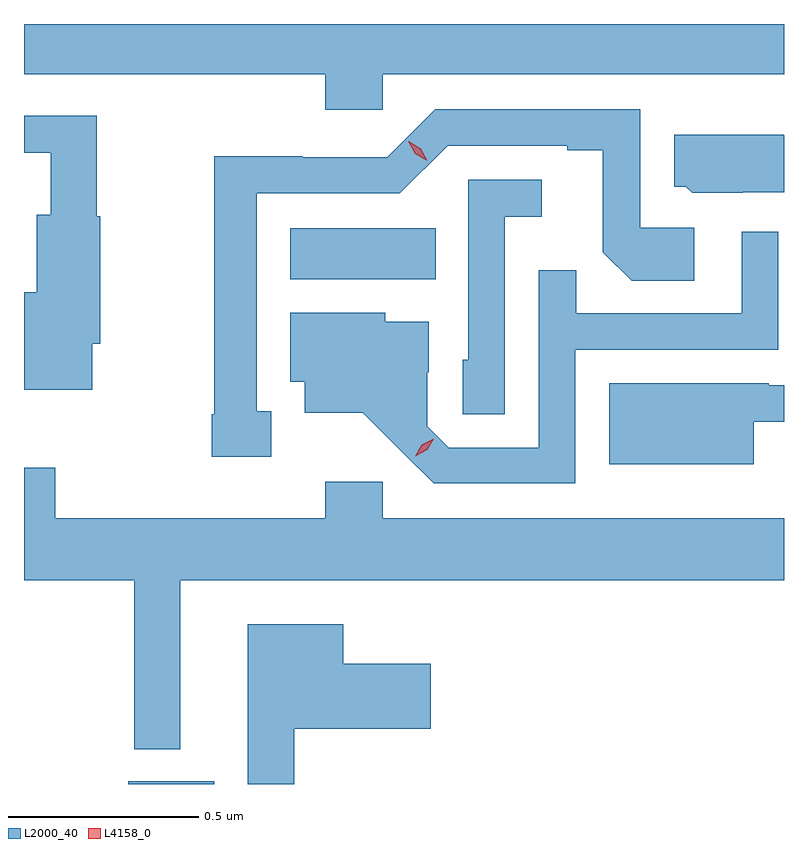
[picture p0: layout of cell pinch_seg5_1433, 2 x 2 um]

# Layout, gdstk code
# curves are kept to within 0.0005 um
import gdstk
lib = gdstk.Library(unit=1e-6, precision=1e-09)
def R(c, l, rs):  # rectangles x0, y0, x1, y1
    for r in rs: c.add(gdstk.rectangle(r[:2], r[2:], *l))
def P(c, l, *ps):  # polygons
    for p in ps: c.add(gdstk.Polygon(p, *l))
L2000_40 = (2000, 40)
L4158_0 = (4158, 0)

pinch_seg5_1433 = lib.new_cell('pinch_seg5_1433')
R(pinch_seg5_1433, L2000_40, [(167.36,897.516,167.587,897.523), (167.786,898.844,168.17,898.978)])
P(pinch_seg5_1433, L2000_40, [(168.03,899.384),(169.086,899.384),(169.086,899.516),(167.086,899.516),(167.086,899.384),(167.879,899.384),(167.879,899.291),(168.03,899.291)],
  [(167.737,898.497),(167.698,898.497),(167.698,899.07),(168.075,899.07),(168.201,899.196),(168.515,899.196),(168.515,899.184),(168.609,899.184),(168.609,898.916),(168.685,898.84),(168.85,898.84),(168.85,898.98),(168.708,898.98),(168.708,899.292),(168.168,899.292),(168.042,899.166),(167.82,899.166),(167.82,899.168),(167.587,899.168),(167.587,898.489),(167.58,898.489),(167.58,898.377),(167.737,898.377)],
  [(167.266,898.674),(167.286,898.674),(167.286,899.01),(167.278,899.01),(167.278,899.274),(167.086,899.274),(167.086,899.177),(167.157,899.177),(167.157,899.014),(167.12,899.014),(167.12,898.81),(167.086,898.81),(167.086,898.553),(167.266,898.553)],
  [(168.978,899.073),(169.086,899.073),(169.086,899.223),(169.085,899.224),(168.797,899.224),(168.797,899.088),(168.828,899.088),(168.844,899.072),(168.978,899.072)],
  [(168.351,899.009),(168.448,899.009),(168.448,899.106),(168.255,899.106),(168.255,898.632),(168.24,898.632),(168.24,898.489),(168.351,898.489)],
  [(168.537,898.659),(169.071,898.659),(169.071,898.969),(168.975,898.969),(168.975,898.755),(168.539,898.755),(168.539,898.868),(168.441,898.868),(168.441,898.401),(168.204,898.401),(168.147,898.458),(168.147,898.6),(168.151,898.6),(168.151,898.732),(168.036,898.732),(168.036,898.756),(167.786,898.756),(167.786,898.574),(167.825,898.574),(167.825,898.493),(167.977,898.493),(168.164,898.308),(168.537,898.308)],
  [(169.006,898.469),(169.086,898.469),(169.086,898.566),(169.046,898.566),(169.046,898.57),(168.626,898.57),(168.626,898.358),(169.006,898.358)],
  [(167.497,898.052),(169.086,898.052),(169.086,898.216),(168.03,898.216),(168.03,898.312),(167.879,898.312),(167.879,898.216),(167.168,898.216),(167.168,898.348),(167.086,898.348),(167.086,898.052),(167.376,898.052),(167.376,897.608),(167.497,897.608)],
  [(167.797,897.662),(168.157,897.662),(168.157,897.832),(167.926,897.832),(167.926,897.937),(167.675,897.937),(167.675,897.516),(167.797,897.516)])
P(pinch_seg5_1433, L4158_0, [(168.116,898.379),(168.116,898.379),(168.133,898.409),(168.164,898.425),(168.164,898.425),(168.164,898.424),(168.147,898.395),(168.116,898.379)],
  [(168.147,899.156),(168.115,899.174),(168.097,899.207),(168.097,899.207),(168.098,899.207),(168.13,899.188),(168.147,899.156),(168.147,899.156)])

lib.write_gds('pinch_seg5_1433.gds')
